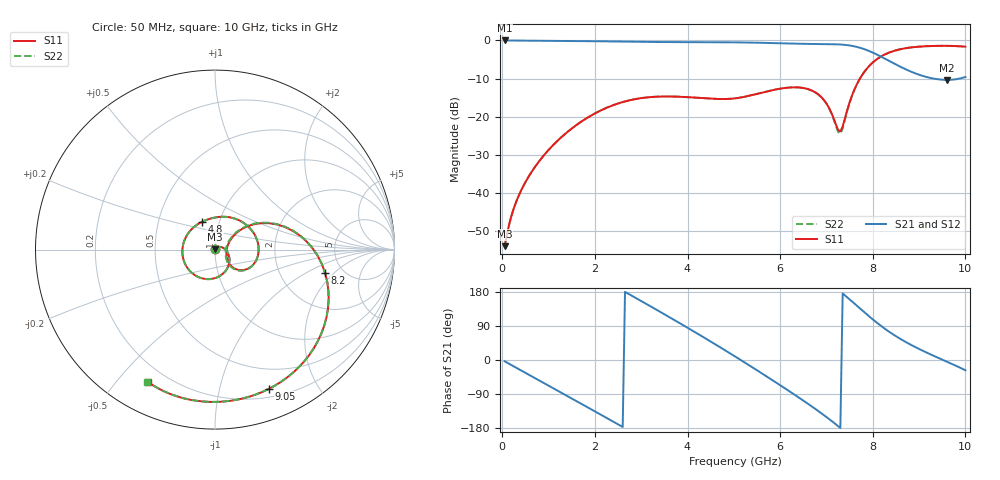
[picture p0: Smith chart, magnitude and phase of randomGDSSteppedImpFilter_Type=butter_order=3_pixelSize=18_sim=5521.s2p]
! freq	dB(S11)	phase(S11)	dB(S12)	phase(S12)
!  dB(S21)	phase(S21)	dB(S22)	phase(S22)
!S-par simulation data
#  GHz  S  DB  R 50
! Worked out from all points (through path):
!   200 points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, 50 MHz to 10 GHz, reference 50 ohm
!   highest |S21| = -0.02 dB at 50 MHz (marker M1); lowest = -10.3 dB at 9.6 GHz (marker M2)
!   group delay of S21, straight-line fit = 215 ps
!   lowest |S11| = -53.9 dB at 50 MHz (marker M3), VSWR 1.00, Z = 50.2 + j0.11 ohm
!   |S11| at or under -10 dB: start of sweep to 7.723 GHz
!   |S22| runs from -53.9 to -1.4 dB; largest |S21 - S12| = 0
!   S11 on the Smith chart (normalised r, x): 50 MHz: 1.00, +0.00; 4.8 GHz: 0.82, +0.26; 8.2 GHz: 3.65, -1.56; 9.05 GHz: 0.28, -1.42; 10 GHz: 0.13, -0.61
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0.05  -53.85 32.7  -0.02 -3.4  -0.02 -3.4  -53.86 32.7
0.25  -43.90 59.9  -0.03 -16.9  -0.03 -16.9  -43.92 60.3
0.6  -35.03 47.6  -0.06 -40.5  -0.06 -40.5  -35.04 48.6
1.2  -26.19 9.0  -0.11 -81.0  -0.11 -81.0  -26.18 10.2
1.75  -20.91 -28.4  -0.17 -118.5  -0.17 -118.5  -20.91 -27.2
2.6  -16.14 -86.9  -0.32 -176.7  -0.32 -176.7  -16.14 -86.0
3.4  -14.70 -142.1  -0.43 127.7  -0.43 127.7  -14.70 -141.5
4.1  -14.93 168.4  -0.47 78.0  -0.47 78.0  -14.93 168.6
4.8  -15.35 115.9  -0.49 26.4  -0.49 26.4  -15.35 115.6
5.05  -15.14 97.3  -0.52 7.6  -0.52 7.6  -15.14 97.0
5.5  -13.99 63.2  -0.60 -27.1  -0.60 -27.1  -13.99 62.6
5.95  -12.74 28.3  -0.74 -62.5  -0.74 -62.5  -12.74 27.7
6.35  -12.29 -1.9  -0.86 -94.7  -0.86 -94.7  -12.29 -2.6
6.7  -13.22 -27.3  -0.93 -124.0  -0.93 -124.0  -13.23 -28.3
7  -16.52 -44.3  -0.96 -150.5  -0.96 -150.5  -16.58 -45.9
7.3  -23.80 -1.0  -1.07 -179.4  -1.07 -179.4  -24.43 -1.2
7.75  -9.44 25.8  -2.02 133.2  -2.02 133.2  -9.48 26.4
8.2  -4.06 -12.0  -4.40 88.0  -4.40 88.0  -4.06 -11.8
8.35  -3.20 -23.8  -5.36 74.8  -5.36 74.8  -3.20 -23.7
9.05  -1.60 -68.9  -9.19 26.1  -9.19 26.1  -1.60 -69.0
9.6  -1.43 -96.9  -10.34 -4.5  -10.34 -4.5  -1.43 -97.1
10  -1.65 -116.9  -9.58 -27.1  -9.58 -27.1  -1.66 -117.1
